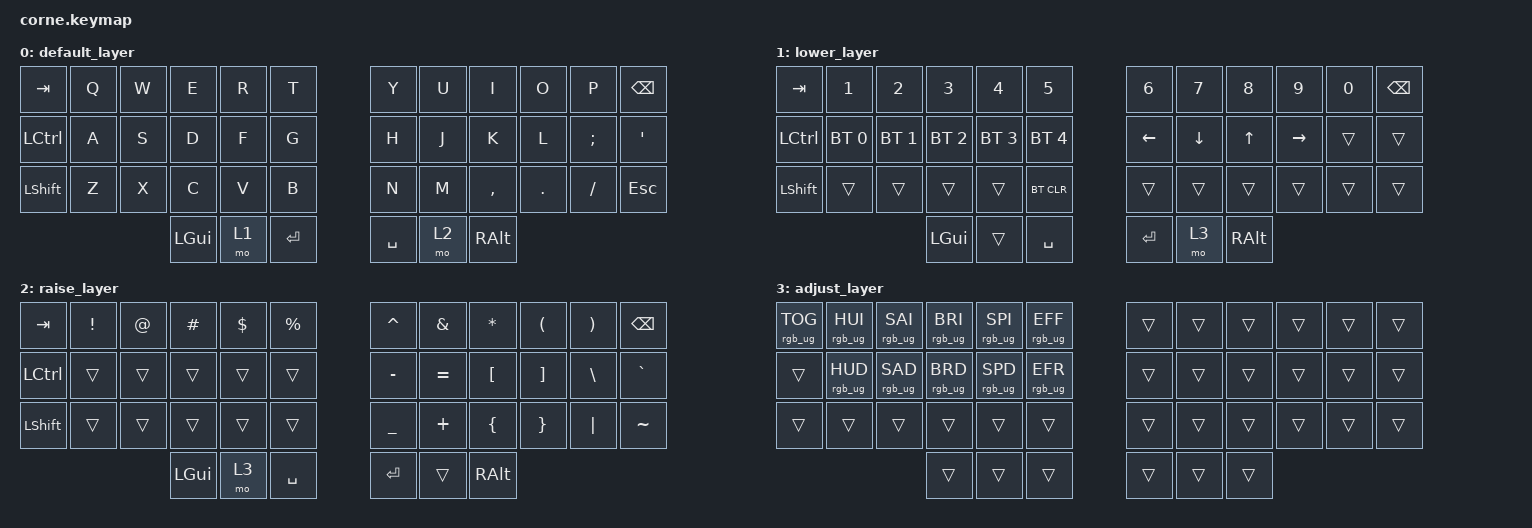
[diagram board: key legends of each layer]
#include <behaviors.dtsi>
#include <dt-bindings/zmk/bt.h>
#include <dt-bindings/zmk/keys.h>
#include <dt-bindings/zmk/rgb.h>

/ {
    keymap {
        compatible = "zmk,keymap";

        default_layer {
            bindings = <
&kp TAB    &kp Q  &kp W  &kp E     &kp R  &kp T        &kp Y      &kp U  &kp I      &kp O    &kp P     &kp BSPC
&kp LCTRL  &kp A  &kp S  &kp D     &kp F  &kp G        &kp H      &kp J  &kp K      &kp L    &kp SEMI  &kp SQT
&kp LSHFT  &kp Z  &kp X  &kp C     &kp V  &kp B        &kp N      &kp M  &kp COMMA  &kp DOT  &kp FSLH  &kp ESC
                         &kp LGUI  &mo 1  &kp ENTER    &kp SPACE  &mo 2  &kp RALT
            >;
        };

        lower_layer {
            bindings = <
&kp TAB    &kp N1        &kp N2        &kp N3        &kp N4        &kp N5          &kp N6    &kp N7    &kp N8    &kp N9     &kp N0  &kp BSPC
&kp LCTRL  &bt BT_SEL 0  &bt BT_SEL 1  &bt BT_SEL 2  &bt BT_SEL 3  &bt BT_SEL 4    &kp LEFT  &kp DOWN  &kp UP    &kp RIGHT  &trans  &trans
&kp LSHFT  &trans        &trans        &trans        &trans        &bt BT_CLR      &trans    &trans    &trans    &trans     &trans  &trans
                                       &kp LGUI      &trans        &kp SPACE       &kp RET   &mo 3     &kp RALT
            >;
        };

        raise_layer {
            bindings = <
&kp TAB    &kp EXCL  &kp AT  &kp HASH  &kp DLLR  &kp PRCNT    &kp CARET  &kp AMPS   &kp ASTRK  &kp LPAR  &kp RPAR  &kp BSPC
&kp LCTRL  &trans    &trans  &trans    &trans    &trans       &kp MINUS  &kp EQUAL  &kp LBKT   &kp RBKT  &kp BSLH  &kp GRAVE
&kp LSHFT  &trans    &trans  &trans    &trans    &trans       &kp UNDER  &kp PLUS   &kp LBRC   &kp RBRC  &kp PIPE  &kp TILDE
                             &kp LGUI  &mo 3     &kp SPACE    &kp RET    &trans     &kp RALT
            >;
        };

        adjust_layer {
            bindings = <
&rgb_ug RGB_TOG  &rgb_ug RGB_HUI  &rgb_ug RGB_SAI  &rgb_ug RGB_BRI  &rgb_ug RGB_SPI  &rgb_ug RGB_EFF    &trans  &trans  &trans  &trans  &trans  &trans
&trans           &rgb_ug RGB_HUD  &rgb_ug RGB_SAD  &rgb_ug RGB_BRD  &rgb_ug RGB_SPD  &rgb_ug RGB_EFR    &trans  &trans  &trans  &trans  &trans  &trans
&trans           &trans           &trans           &trans           &trans           &trans             &trans  &trans  &trans  &trans  &trans  &trans
                                                   &trans           &trans           &trans             &trans  &trans  &trans
            >;
        };
    };
};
